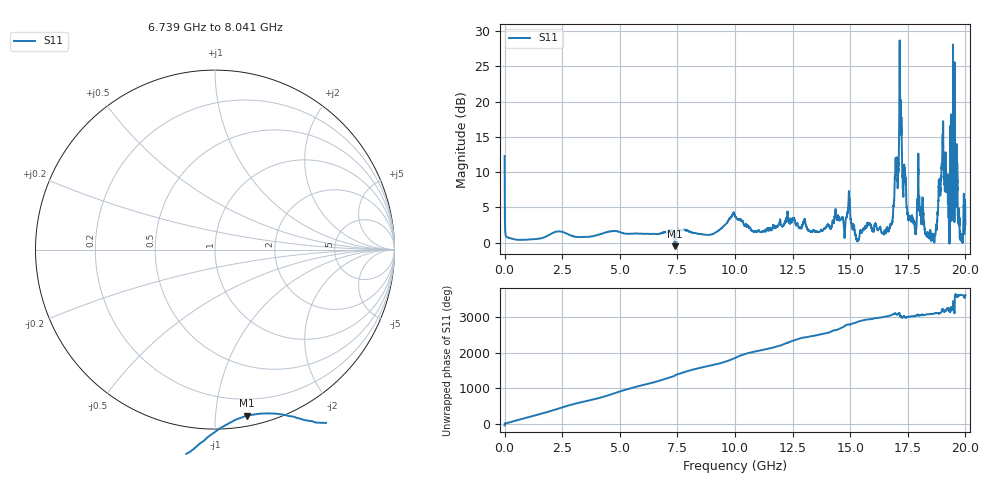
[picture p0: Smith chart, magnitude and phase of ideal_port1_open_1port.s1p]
! Created with skrf 1.8.0 (http://scikit-rf.org).
# GHz S RI R 50.0
!freq ReS11 ImS11
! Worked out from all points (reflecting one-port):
!   10001 points, 1 MHz to 20 GHz, reference 50 ohm
!   lowest |S11| = -0.5 dB at 7.395 GHz (marker M1), VSWR 33.62, Z = 3.67 - j60.4 ohm
!   phase of S11 starts at -41 deg and turns +3660 deg over the sweep
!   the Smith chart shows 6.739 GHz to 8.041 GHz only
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0.001  3.096 -2.706
0.8569572  -0.9908 0.3325
1.558922  0.1818 -1.054
2.500875  -0.3731 1.131
4.088796  1.129 0.1387
5.00075  -1.161 -0.2353
6.506675  -0.0969 1.147
7.39463  0.1785 -0.9252
7.500625  0.8115 -0.8984
8.20859  -0.0423 1.168
9.480526  0.3508 -1.245
10.0005  0.9546 1.193
10.52247  -1.298 -0.0186
11.81641  1.253 0.338
12.50038  -1.484 0.1044
13.72631  1.216 -0.1272
14.31828  -0.5591 1.417
15.00025  -0.044 -1.62
15.79821  0.731 1.116
16.76616  -1.323 0.2903
17.04615  -2.785 -0.4353
17.12214  -3.564 -4.31
17.25014  -0.896 3.977
17.50013  -0.9569 1.303
18.85606  -1.558 -1.97
19.02805  5.648 -1.892
19.39803  1.382 0.3479
20  1.265 0.4314
